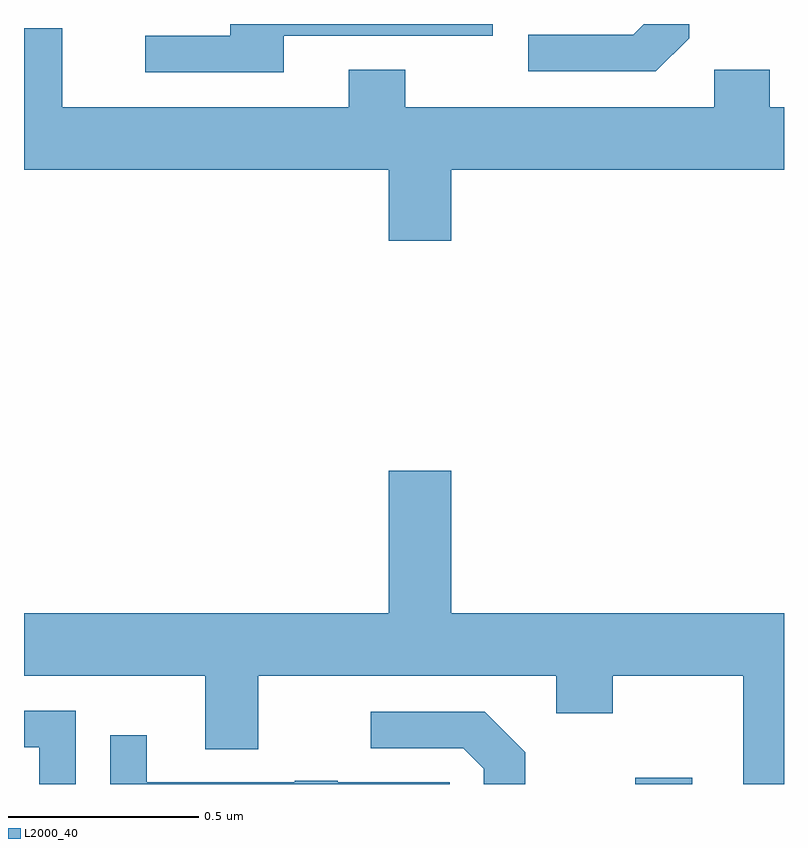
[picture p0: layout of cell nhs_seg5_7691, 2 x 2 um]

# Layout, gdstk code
import gdstk
lib = gdstk.Library(unit=1e-6, precision=1e-09)
def R(c, l, rs):  # rectangles x0, y0, x1, y1
    for r in rs: c.add(gdstk.rectangle(r[:2], r[2:], *l))
def P(c, l, *ps):  # polygons
    for p in ps: c.add(gdstk.Polygon(p, *l))
L2000_40 = (2000, 40)

nhs_seg5_7691 = lib.new_cell('nhs_seg5_7691')
R(nhs_seg5_7691, L2000_40, [(213.609,865.799,213.759,865.816)])
P(nhs_seg5_7691, L2000_40, [(212.683,867.768),(213.234,867.768),(213.234,867.799),(212.543,867.799),(212.543,867.768),(212.319,867.768),(212.319,867.672),(212.683,867.672)],
  [(213.75,867.762),(213.75,867.799),(213.631,867.799),(213.603,867.771),(213.327,867.771),(213.327,867.675),(213.663,867.675)],
  [(213.124,867.416),(214,867.416),(214,867.58),(213.963,867.58),(213.963,867.679),(213.816,867.679),(213.816,867.58),(213.003,867.58),(213.003,867.679),(212.855,867.679),(212.855,867.58),(212.101,867.58),(212.101,867.788),(212,867.788),(212,867.416),(212.96,867.416),(212.96,867.228),(213.124,867.228)],
  [(214,866.248),(213.124,866.248),(213.124,866.623),(212.96,866.623),(212.96,866.248),(212,866.248),(212,866.084),(212.477,866.084),(212.477,865.89),(212.617,865.89),(212.617,866.084),(213.401,866.084),(213.401,865.985),(213.549,865.985),(213.549,866.084),(213.893,866.084),(213.893,865.799),(214,865.799)],
  [(212.136,865.992),(212,865.992),(212,865.896),(212.04,865.896),(212.04,865.799),(212.136,865.799)],
  [(213.319,865.883),(213.213,865.989),(212.913,865.989),(212.913,865.893),(213.156,865.893),(213.21,865.839),(213.21,865.799),(213.319,865.799)],
  [(213.12,865.803),(212.825,865.803),(212.825,865.808),(212.713,865.808),(212.713,865.803),(212.323,865.803),(212.323,865.927),(212.227,865.927),(212.227,865.799),(213.12,865.799)])

lib.write_gds('nhs_seg5_7691.gds')
